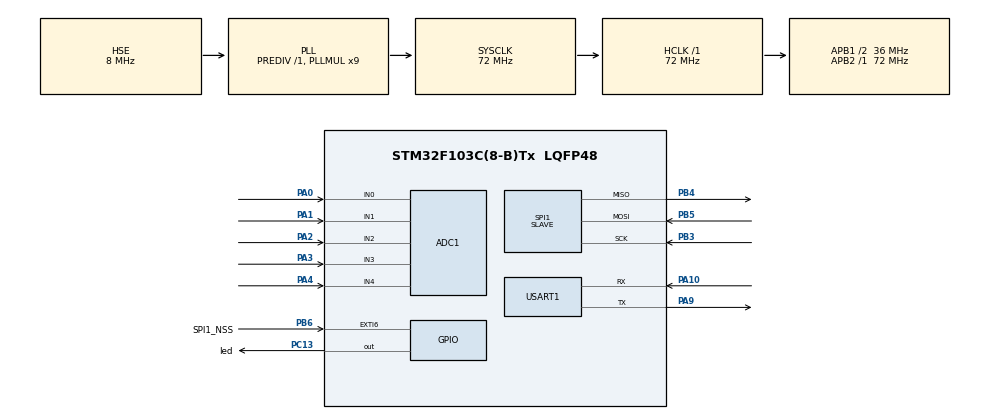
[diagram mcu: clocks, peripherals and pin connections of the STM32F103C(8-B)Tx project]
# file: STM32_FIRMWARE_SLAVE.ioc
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ADC1.Channel-0\#ChannelRegularConversion=ADC_CHANNEL_0
ADC1.Channel-1\#ChannelRegularConversion=ADC_CHANNEL_1
ADC1.Channel-2\#ChannelRegularConversion=ADC_CHANNEL_2
ADC1.Channel-3\#ChannelRegularConversion=ADC_CHANNEL_3
ADC1.Channel-4\#ChannelRegularConversion=ADC_CHANNEL_4
ADC1.DataAlign=ADC_DATAALIGN_RIGHT
ADC1.NbrOfConversion=5
ADC1.NbrOfConversionFlag=1
ADC1.Rank-0\#ChannelRegularConversion=1
ADC1.Rank-1\#ChannelRegularConversion=2
ADC1.Rank-2\#ChannelRegularConversion=3
ADC1.Rank-3\#ChannelRegularConversion=4
ADC1.Rank-4\#ChannelRegularConversion=5
ADC1.SamplingTime-0\#ChannelRegularConversion=ADC_SAMPLETIME_55CYCLES_5
ADC1.SamplingTime-1\#ChannelRegularConversion=ADC_SAMPLETIME_55CYCLES_5
ADC1.SamplingTime-2\#ChannelRegularConversion=ADC_SAMPLETIME_55CYCLES_5
ADC1.SamplingTime-3\#ChannelRegularConversion=ADC_SAMPLETIME_55CYCLES_5
ADC1.SamplingTime-4\#ChannelRegularConversion=ADC_SAMPLETIME_55CYCLES_5
ADC1.master=1
Dma.ADC1.0.Direction=DMA_PERIPH_TO_MEMORY
Dma.ADC1.0.Instance=DMA1_Channel1
Dma.ADC1.0.MemDataAlignment=DMA_MDATAALIGN_HALFWORD
Dma.ADC1.0.MemInc=DMA_MINC_ENABLE
Dma.ADC1.0.Mode=DMA_NORMAL
Dma.ADC1.0.PeriphDataAlignment=DMA_PDATAALIGN_HALFWORD
Dma.ADC1.0.PeriphInc=DMA_PINC_DISABLE
Dma.ADC1.0.Priority=DMA_PRIORITY_LOW
Dma.Request0=ADC1
Dma.Request1=USART1_RX
Dma.Request2=USART1_TX
Dma.Request3=SPI1_RX
Dma.Request4=SPI1_TX
Dma.SPI1_RX.3.Direction=DMA_PERIPH_TO_MEMORY
Dma.SPI1_RX.3.Instance=DMA1_Channel2
Dma.SPI1_RX.3.MemDataAlignment=DMA_MDATAALIGN_BYTE
Dma.SPI1_RX.3.MemInc=DMA_MINC_ENABLE
Dma.SPI1_RX.3.Mode=DMA_NORMAL
Dma.SPI1_RX.3.PeriphDataAlignment=DMA_PDATAALIGN_BYTE
Dma.SPI1_RX.3.PeriphInc=DMA_PINC_DISABLE
Dma.SPI1_RX.3.Priority=DMA_PRIORITY_HIGH
Dma.SPI1_TX.4.Direction=DMA_MEMORY_TO_PERIPH
Dma.SPI1_TX.4.Instance=DMA1_Channel3
Dma.SPI1_TX.4.MemDataAlignment=DMA_MDATAALIGN_BYTE
Dma.SPI1_TX.4.MemInc=DMA_MINC_ENABLE
Dma.SPI1_TX.4.Mode=DMA_NORMAL
Dma.SPI1_TX.4.PeriphDataAlignment=DMA_PDATAALIGN_BYTE
Dma.SPI1_TX.4.PeriphInc=DMA_PINC_DISABLE
Dma.SPI1_TX.4.Priority=DMA_PRIORITY_HIGH
Dma.USART1_RX.1.Direction=DMA_PERIPH_TO_MEMORY
Dma.USART1_RX.1.Instance=DMA1_Channel5
Dma.USART1_RX.1.MemDataAlignment=DMA_MDATAALIGN_BYTE
Dma.USART1_RX.1.MemInc=DMA_MINC_ENABLE
Dma.USART1_RX.1.Mode=DMA_NORMAL
Dma.USART1_RX.1.PeriphDataAlignment=DMA_PDATAALIGN_BYTE
Dma.USART1_RX.1.PeriphInc=DMA_PINC_DISABLE
Dma.USART1_RX.1.Priority=DMA_PRIORITY_LOW
Dma.USART1_TX.2.Direction=DMA_MEMORY_TO_PERIPH
Dma.USART1_TX.2.Instance=DMA1_Channel4
Dma.USART1_TX.2.MemDataAlignment=DMA_MDATAALIGN_BYTE
Dma.USART1_TX.2.MemInc=DMA_MINC_ENABLE
Dma.USART1_TX.2.Mode=DMA_NORMAL
Dma.USART1_TX.2.PeriphDataAlignment=DMA_PDATAALIGN_BYTE
Dma.USART1_TX.2.PeriphInc=DMA_PINC_DISABLE
Dma.USART1_TX.2.Priority=DMA_PRIORITY_LOW
Mcu.Family=STM32F1
Mcu.Name=STM32F103C(8-B)Tx
Mcu.Package=LQFP48
NVIC.ADC1_2_IRQn=true\:1\:0\:true\:false\:true\:true\:true\:true
NVIC.DMA1_Channel1_IRQn=true\:1\:0\:true\:false\:true\:false\:true\:true
NVIC.DMA1_Channel2_IRQn=true\:0\:0\:false\:false\:true\:false\:true\:true
NVIC.DMA1_Channel3_IRQn=true\:0\:0\:false\:false\:true\:false\:true\:true
NVIC.DMA1_Channel4_IRQn=true\:3\:0\:true\:false\:true\:false\:true\:true
NVIC.DMA1_Channel5_IRQn=true\:3\:0\:true\:false\:true\:false\:true\:true
NVIC.EXTI9_5_IRQn=true\:0\:0\:false\:false\:true\:true\:true\:true
NVIC.PriorityGroup=NVIC_PRIORITYGROUP_4
NVIC.SPI1_IRQn=true\:0\:0\:false\:false\:true\:true\:true\:true
NVIC.USART1_IRQn=true\:2\:0\:true\:false\:true\:true\:true\:true
PA0-WKUP.Signal=ADCx_IN0
PA1.Signal=ADCx_IN1
PA10.Mode=Asynchronous
PA10.Signal=USART1_RX
PA13.Mode=Serial_Wire
PA13.Signal=SYS_JTMS-SWDIO
PA14.Mode=Serial_Wire
PA14.Signal=SYS_JTCK-SWCLK
PA2.Signal=ADCx_IN2
PA3.Signal=ADCx_IN3
PA4.Signal=ADCx_IN4
PA9.Mode=Asynchronous
PA9.Signal=USART1_TX
PB3.Mode=Full_Duplex_Slave
PB3.Signal=SPI1_SCK
PB4.Mode=Full_Duplex_Slave
PB4.Signal=SPI1_MISO
PB5.Mode=Full_Duplex_Slave
PB5.Signal=SPI1_MOSI
PB6.GPIO_Label=SPI1_NSS
PB6.GPIO_ModeDefaultEXTI=GPIO_MODE_IT_RISING_FALLING
PB6.GPIO_PuPd=GPIO_PULLUP
PB6.Signal=GPXTI6
PC13-TAMPER-RTC.GPIO_Label=led
PC13-TAMPER-RTC.Signal=GPIO_Output
PD0-OSC_IN.Mode=HSE-External-Oscillator
PD0-OSC_IN.Signal=RCC_OSC_IN
PD1-OSC_OUT.Mode=HSE-External-Oscillator
PD1-OSC_OUT.Signal=RCC_OSC_OUT
ProjectManager.HeapSize=0x200
ProjectManager.StackSize=0x400
ProjectManager.TargetToolchain=CMake
RCC.ADCPresc=RCC_ADCPCLK2_DIV6
RCC.AHBFreq_Value=72000000
RCC.APB1CLKDivider=RCC_HCLK_DIV2
RCC.APB1Freq_Value=36000000
RCC.APB1TimFreq_Value=72000000
RCC.APB2Freq_Value=72000000
RCC.APB2TimFreq_Value=72000000
RCC.HCLKFreq_Value=72000000
RCC.PLLMUL=RCC_PLL_MUL9
RCC.PLLSourceVirtual=RCC_PLLSOURCE_HSE
RCC.SYSCLKFreq_VALUE=72000000
RCC.SYSCLKSource=RCC_SYSCLKSOURCE_PLLCLK
RCC.USBFreq_Value=72000000
SH.ADCx_IN0.0=ADC1_IN0,IN0
SH.ADCx_IN1.0=ADC1_IN1,IN1
SH.ADCx_IN2.0=ADC1_IN2,IN2
SH.ADCx_IN3.0=ADC1_IN3,IN3
SH.ADCx_IN4.0=ADC1_IN4,IN4
SPI1.Direction=SPI_DIRECTION_2LINES
SPI1.Mode=SPI_MODE_SLAVE
SPI1.VirtualType=VM_SLAVE
USART1.VirtualMode=VM_ASYNC
board=custom

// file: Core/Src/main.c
/* USER CODE BEGIN Header */
/**
  ******************************************************************************
  * @file           : main.c
  * @brief          : Main program body
  ******************************************************************************
  * @attention
  *
  * Copyright (c) 2026 STMicroelectronics.
  * All rights reserved.
  *
  * This software is licensed under terms that can be found in the LICENSE file
  * in the root directory of this software component.
  * If no LICENSE file comes with this software, it is provided AS-IS.
  *
  ******************************************************************************
  */
/* USER CODE END Header */
#include "main.h"
#include "adc.h"
#include "dma.h"
#include "spi.h"
#include "usart.h"
#include "gpio.h"

/* USER CODE BEGIN Includes */
#include <stdio.h>
#include <stdlib.h>
#include <string.h>
/* USER CODE END Includes */

/* USER CODE BEGIN PTD */
/**
 * @brief Wire frame sent to the SPI master (14 bytes, little-endian).
 *
 * No CRC on purpose: chip-select frames the transfer, and exactly one frame is
 * clocked per CS assertion, so its start and length are already unambiguous.
 * The SOF marker is kept purely as a sanity check.
 */
typedef struct __attribute__((packed))
{
  uint8_t  sof0;
  uint8_t  sof1;
  uint8_t  seq;
  uint8_t  status;
  uint16_t adc_raw[5];
} ItvSpiFrame_t;
/* USER CODE END PTD */

/* USER CODE BEGIN PD */
#define ITV_CH_COUNT          5U
#define ADC_REF_MV            3300U
#define ADC_MAX_COUNT         4095U
#define ADC_OFFSET_MV         200U
#define ADC_OFFSET_COUNTS     (((ADC_OFFSET_MV * ADC_MAX_COUNT) + (ADC_REF_MV / 2U)) / ADC_REF_MV)
#define ADC_FILTER_LEN        8U
#define ADC_SAMPLE_PERIOD_MS  10U
#define ADC_BUSY_TIMEOUT_MS   50U
#define DEFAULT_LOG_PERIOD_MS 50U
#define MIN_LOG_PERIOD_MS     20U
#define MAX_LOG_PERIOD_MS     10000U
#define UART_TX_BUF_SIZE      192U
#define UART_RX_BUF_SIZE      64U
#define SPI_FRAME_SIZE        ((uint16_t)sizeof(ItvSpiFrame_t))
#define SPI_FRAME_SOF0        0xAAU
#define SPI_FRAME_SOF1        0x55U
/* USER CODE END PD */

/* USER CODE BEGIN PV */
static volatile uint16_t adc_dma_buf[ITV_CH_COUNT];
static volatile uint16_t adc_latest[ITV_CH_COUNT];
static uint16_t          adc_ring[ITV_CH_COUNT][ADC_FILTER_LEN];
static uint32_t          adc_sum[ITV_CH_COUNT];
static uint8_t           adc_ring_idx = 0U;
static uint8_t           adc_ring_primed = 0U;
static volatile uint8_t  adc_busy = 0U;
static volatile uint8_t  adc_data_ready = 0U;
static volatile uint8_t  adc_valid = 0U;
static volatile uint8_t  adc_seq = 0U;
static volatile uint32_t adc_sample_count = 0U;
static volatile uint32_t adc_error_count = 0U;
static volatile uint8_t  adc_last_error = 0U;
static volatile uint32_t adc_last_ok_tick = 0U;
static uint8_t           adc_timeout_streak = 0U;

static uint8_t           spi_tx_buf[SPI_FRAME_SIZE];
static uint8_t           spi_rx_buf[SPI_FRAME_SIZE];
static uint8_t           spi_frame_shadow[2][SPI_FRAME_SIZE];
static volatile uint8_t  spi_frame_front = 0U;
static volatile uint8_t  spi_adc_dirty = 0U;
static volatile uint8_t  spi_cs_active = 0U;
static volatile uint8_t  spi_cs_restart_pending = 0U;
static volatile uint32_t spi_tx_count = 0U;
static volatile uint32_t spi_error_count = 0U;
static volatile uint32_t spi_resync_count = 0U;

static uint8_t           uart_tx_buf[UART_TX_BUF_SIZE];
static uint8_t           uart_rx_dma_buf[UART_RX_BUF_SIZE];
static char              uart_cmd_buf[UART_RX_BUF_SIZE];
static volatile uint16_t uart_cmd_len = 0U;
static volatile uint8_t  uart_cmd_ready = 0U;
static volatile uint8_t  uart_tx_busy = 0U;
static volatile uint32_t uart_tx_count = 0U;
static volatile uint32_t uart_rx_count = 0U;
static volatile uint32_t uart_error_count = 0U;

static uint8_t           stream_enabled = 1U;
static uint32_t          log_period_ms = DEFAULT_LOG_PERIOD_MS;
/* USER CODE END PV */

void SystemClock_Config(void);
/* USER CODE BEGIN PFP */
static void SPI1_PackFrame(uint8_t *buf);
static void SPI1_StartSlaveDMA(void);
static void SPI1_RecoverIdle(void);
static void UART1_StartRxDMA(void);
static uint8_t UART1_SendDMA(const char *msg, uint32_t wait_timeout_ms);
static void ITV_LogSample(const uint16_t raw[ITV_CH_COUNT], uint32_t timestamp_ms, uint8_t wait_tx);
static void ITV_ProcessCommand(void);
/* USER CODE END PFP */

/* USER CODE BEGIN 0 */
static void SPI1_PackFrame(uint8_t *buf)
{
  ItvSpiFrame_t frame;
  frame.sof0 = SPI_FRAME_SOF0;
  frame.sof1 = SPI_FRAME_SOF1;

  uint32_t primask = __get_PRIMASK();
  __disable_irq();
  frame.seq = adc_seq;
  frame.status = (adc_valid != 0U) ? 0x01U : 0x00U;
  if (adc_last_error != 0U)
  {
    frame.status |= 0x02U;
  }
  for (uint32_t i = 0U; i < ITV_CH_COUNT; i++)
  {
    frame.adc_raw[i] = adc_latest[i];
  }
  if (primask == 0U)
  {
    __enable_irq();
  }

  memcpy(buf, &frame, sizeof(frame));
}

/*
 * Arm SPI1 slave DMA from the latest double-buffered shadow frame.
 * Called from the CS falling-edge EXTI ISR (priority 0) while hspi1 is READY.
 */
static void SPI1_StartSlaveDMA(void)
{
  __HAL_SPI_CLEAR_OVRFLAG(&hspi1);
  memcpy(spi_tx_buf, spi_frame_shadow[spi_frame_front], SPI_FRAME_SIZE);
  spi_adc_dirty = 0U;

  if (HAL_SPI_TransmitReceive_DMA(&hspi1, spi_tx_buf, spi_rx_buf, SPI_FRAME_SIZE) != HAL_OK)
  {
    spi_error_count++;
    spi_cs_restart_pending = 1U;
  }
}

static void ADC1_Recover(void)
{
  (void)HAL_ADC_Stop_DMA(&hadc1);
  if (hadc1.DMA_Handle != NULL)
  {
    (void)HAL_DMA_Abort(hadc1.DMA_Handle);
    __HAL_UNLOCK(hadc1.DMA_Handle);
    hadc1.DMA_Handle->State = HAL_DMA_STATE_READY;
  }
  __HAL_UNLOCK(&hadc1);
  __HAL_ADC_CLEAR_FLAG(&hadc1, ADC_FLAG_EOC | ADC_FLAG_STRT | ADC_FLAG_JEOC | ADC_FLAG_JSTRT | ADC_FLAG_AWD);

  adc_timeout_streak++;
  if (adc_timeout_streak >= 2U)
  {
    __HAL_RCC_ADC1_FORCE_RESET();
    __NOP();
    __NOP();
    __NOP();
    __NOP();
    __HAL_RCC_ADC1_RELEASE_RESET();
    MX_ADC1_Init();
    (void)HAL_ADCEx_Calibration_Start(&hadc1);
    adc_timeout_streak = 0U;
  }

  adc_busy = 0U;
  adc_error_count++;
  adc_last_error = 1U;
}

/*
 * Recover SPI1 from an incomplete/aborted transfer once CS has returned HIGH.
 * Runs in thread context because HAL_SPI_Abort() polls HAL_GetTick().
 * Masks EXTI9_5_IRQn during reset/re-init so a fresh CS edge cannot race it.
 */
static void SPI1_RecoverIdle(void)
{
  HAL_NVIC_DisableIRQ(EXTI9_5_IRQn);
  if (HAL_GPIO_ReadPin(SPI1_NSS_GPIO_Port, SPI1_NSS_Pin) == GPIO_PIN_RESET)
  {
    spi_cs_active = 1U;
    HAL_NVIC_EnableIRQ(EXTI9_5_IRQn);
    return;
  }
  spi_cs_active = 0U;

  if (hspi1.State != HAL_SPI_STATE_READY)
  {
    (void)HAL_SPI_Abort(&hspi1);
    spi_resync_count++;
  }
  __HAL_RCC_SPI1_FORCE_RESET();
  __NOP();
  __NOP();
  __NOP();
  __NOP();
  __HAL_RCC_SPI1_RELEASE_RESET();
  if (HAL_SPI_Init(&hspi1) != HAL_OK)
  {
    spi_error_count++;
    HAL_NVIC_EnableIRQ(EXTI9_5_IRQn);
    return;
  }
  __HAL_SPI_CLEAR_OVRFLAG(&hspi1);
  __HAL_SPI_DISABLE(&hspi1);

  __HAL_GPIO_EXTI_CLEAR_IT(SPI1_NSS_Pin);
  if (HAL_GPIO_ReadPin(SPI1_NSS_GPIO_Port, SPI1_NSS_Pin) == GPIO_PIN_RESET)
  {
    spi_cs_active = 1U;
    SPI1_StartSlaveDMA();
  }
  HAL_NVIC_EnableIRQ(EXTI9_5_IRQn);
}

static uint32_t ITV_RawToMillivolts(uint16_t raw)
{
  return ((uint32_t)raw * ADC_REF_MV + (ADC_MAX_COUNT / 2U)) / ADC_MAX_COUNT;
}

static void UART1_StartRxDMA(void)
{
  if (HAL_UARTEx_ReceiveToIdle_DMA(&huart1, uart_rx_dma_buf, UART_RX_BUF_SIZE) == HAL_OK)
  {
    if (huart1.hdmarx != NULL)
    {
      __HAL_DMA_DISABLE_IT(huart1.hdmarx, DMA_IT_HT);
    }
  }
}

static uint8_t UART1_SendDMA(const char *msg, uint32_t wait_timeout_ms)
{
  size_t len = strlen(msg);
  if (len == 0U)
  {
    return 1U;
  }
  if (len >= UART_TX_BUF_SIZE)
  {
    len = UART_TX_BUF_SIZE - 1U;
  }

  uint32_t start = HAL_GetTick();
  while (uart_tx_busy != 0U)
  {
    if ((wait_timeout_ms == 0U) || ((HAL_GetTick() - start) >= wait_timeout_ms))
    {
      return 0U;
    }
  }

  memcpy(uart_tx_buf, msg, len);
  uart_tx_busy = 1U;
  if (HAL_UART_Transmit_DMA(&huart1, uart_tx_buf, (uint16_t)len) != HAL_OK)
  {
    uart_tx_busy = 0U;
    return 0U;
  }
  return 1U;
}

static void ITV_LogSample(const uint16_t raw[ITV_CH_COUNT], uint32_t timestamp_ms, uint8_t wait_tx)
{
  char line[UART_TX_BUF_SIZE];
  uint32_t mv[ITV_CH_COUNT];
  for (uint32_t i = 0U; i < ITV_CH_COUNT; i++)
  {
    mv[i] = ITV_RawToMillivolts(raw[i]);
  }

  (void)snprintf(
      line, sizeof(line),
      "[t=%lums] RAW:%u,%u,%u,%u,%u | mV:%lu,%lu,%lu,%lu,%lu\r\n",
      (unsigned long)timestamp_ms,
      (unsigned int)raw[0], (unsigned int)raw[1], (unsigned int)raw[2],
      (unsigned int)raw[3], (unsigned int)raw[4],
      (unsigned long)mv[0], (unsigned long)mv[1], (unsigned long)mv[2],
      (unsigned long)mv[3], (unsigned long)mv[4]);

  (void)UART1_SendDMA(line, wait_tx ? 50U : 0U);
}

static void ITV_ProcessCommand(void)
{
  char cmd[UART_RX_BUF_SIZE];
  uint16_t len = 0U;

  uint32_t primask = __get_PRIMASK();
  __disable_irq();
  if (uart_cmd_ready != 0U)
  {
    len = uart_cmd_len;
    if (len >= UART_RX_BUF_SIZE)
    {
      len = UART_RX_BUF_SIZE - 1U;
    }
    memcpy(cmd, uart_cmd_buf, len);
    cmd[len] = '\0';
    uart_cmd_ready = 0U;
  }
  if (primask == 0U)
  {
    __enable_irq();
  }

  if (len == 0U)
  {
    return;
  }

  while ((len > 0U) && ((cmd[len - 1U] == '\r') || (cmd[len - 1U] == '\n') ||
                        (cmd[len - 1U] == ' ') || (cmd[len - 1U] == '\t')))
  {
    cmd[--len] = '\0';
  }

  char *p = cmd;
  while ((*p == ' ') || (*p == '\t'))
  {
    p++;
  }
  if (*p == '\0')
  {
    return;
  }

  char reply[UART_TX_BUF_SIZE];
  if ((strcmp(p, "help") == 0) || (strcmp(p, "?") == 0))
  {
    (void)snprintf(reply, sizeof(reply),
                   "CMD: start | stop | read | rate <20..10000ms> | stat\r\n");
    (void)UART1_SendDMA(reply, 50U);
  }
  else if (strcmp(p, "start") == 0)
  {
    stream_enabled = 1U;
    (void)snprintf(reply, sizeof(reply), "OK: stream ON (%lu ms)\r\n",
                   (unsigned long)log_period_ms);
    (void)UART1_SendDMA(reply, 50U);
  }
  else if (strcmp(p, "stop") == 0)
  {
    stream_enabled = 0U;
    (void)UART1_SendDMA("OK: stream OFF\r\n", 50U);
  }
  else if (strcmp(p, "read") == 0)
  {
    uint16_t snapshot[ITV_CH_COUNT];
    primask = __get_PRIMASK();
    __disable_irq();
    for (uint32_t i = 0U; i < ITV_CH_COUNT; i++)
    {
      snapshot[i] = adc_latest[i];
    }
    if (primask == 0U)
    {
      __enable_irq();
    }
    ITV_LogSample(snapshot, HAL_GetTick(), 1U);
  }
  else if (strncmp(p, "rate ", 5) == 0)
  {
    long req = strtol(p + 5, NULL, 10);
    if ((req >= (long)MIN_LOG_PERIOD_MS) && (req <= (long)MAX_LOG_PERIOD_MS))
    {
      log_period_ms = (uint32_t)req;
      (void)snprintf(reply, sizeof(reply), "OK: rate=%lu ms\r\n",
                     (unsigned long)log_period_ms);
    }
    else
    {
      (void)snprintf(reply, sizeof(reply), "ERR: rate must be 20..10000 ms\r\n");
    }
    (void)UART1_SendDMA(reply, 50U);
  }
  else if (strcmp(p, "stat") == 0)
  {
    (void)snprintf(
        reply, sizeof(reply),
        "STAT: adc=%lu adc_err=%lu spi=%lu spi_err=%lu resync=%lu tx=%lu rx=%lu u_err=%lu\r\n",
        (unsigned long)adc_sample_count,
        (unsigned long)adc_error_count,
        (unsigned long)spi_tx_count,
        (unsigned long)spi_error_count,
        (unsigned long)spi_resync_count,
        (unsigned long)uart_tx_count,
        (unsigned long)uart_rx_count,
        (unsigned long)uart_error_count);
    (void)UART1_SendDMA(reply, 50U);
  }
  else
  {
    (void)snprintf(reply, sizeof(reply), "ERR: unknown cmd '%s' (try help)\r\n", p);
    (void)UART1_SendDMA(reply, 50U);
  }
}
/* USER CODE END 0 */

int main(void)
{

  /* MCU Configuration--------------------------------------------------------*/

  /* Reset of all peripherals, Initializes the Flash interface and the Systick. */
  HAL_Init();

  /* Configure the system clock */
  SystemClock_Config();

  /* Initialize all configured peripherals */
  MX_GPIO_Init();
  MX_DMA_Init();
  MX_ADC1_Init();
  MX_USART1_UART_Init();
  MX_SPI1_Init();
  /* USER CODE BEGIN 2 */
  if (HAL_ADCEx_Calibration_Start(&hadc1) != HAL_OK)
  {
    Error_Handler();
  }

  UART1_StartRxDMA();
  (void)UART1_SendDMA(
      "\r\nITV_SLAVE_READY: ADC1 5ch(PA0-PA4) | USART1 115200 | SPI1 Slave 14B DMA+EXTI\r\n",
      50U);

  SPI1_PackFrame(spi_frame_shadow[0]);
  spi_frame_front = 0U;
  /* Keep SPI1 disabled (SPE = 0) while CS is HIGH so SCK glitches cannot
   * shift bits between frames; EXTI falling edge arms DMA per transfer. */
  __HAL_SPI_DISABLE(&hspi1);

  uint32_t last_sample_tick = HAL_GetTick();
  uint32_t last_log_tick = HAL_GetTick();
  adc_last_ok_tick = last_sample_tick;

  adc_busy = 1U;
  if (HAL_ADC_Start_DMA(&hadc1, (uint32_t *)adc_dma_buf, ITV_CH_COUNT) != HAL_OK)
  {
    adc_busy = 0U;
  }

  /* Hardware IWDG (~500 ms @ 40 kHz LSI / 64): only kicked while ADC keeps completing */
  IWDG->KR = 0x5555U;
  IWDG->PR = 4U;    /* prescaler /64 (~625 Hz) */
  IWDG->RLR = 312U; /* ~500 ms */
  IWDG->KR = 0xAAAAU;
  IWDG->KR = 0xCCCCU;
  /* USER CODE END 2 */

  /* Infinite loop */
  /* USER CODE BEGIN WHILE */
  while (1)
  {
    uint32_t now = HAL_GetTick();

    if (uart_cmd_ready != 0U)
    {
      ITV_ProcessCommand();
    }

    if ((adc_busy != 0U) && ((uint32_t)(now - last_sample_tick) >= ADC_BUSY_TIMEOUT_MS))
    {
      ADC1_Recover();
    }

    if ((adc_busy == 0U) && ((uint32_t)(now - last_sample_tick) >= ADC_SAMPLE_PERIOD_MS))
    {
      if ((hadc1.DMA_Handle != NULL && hadc1.DMA_Handle->State != HAL_DMA_STATE_READY) ||
          (hadc1.ErrorCode != HAL_ADC_ERROR_NONE))
      {
        (void)HAL_ADC_Stop_DMA(&hadc1);
      }
      last_sample_tick = now;
      adc_busy = 1U;
      HAL_GPIO_TogglePin(led_GPIO_Port, led_Pin);
      if (HAL_ADC_Start_DMA(&hadc1, (uint32_t *)adc_dma_buf, ITV_CH_COUNT) != HAL_OK)
      {
        ADC1_Recover();
      }
    }

    /* Kick IWDG only as long as ADC conversions are actually completing */
    if ((uint32_t)(now - adc_last_ok_tick) < 350U)
    {
      IWDG->KR = 0xAAAAU;
    }

    if ((spi_cs_restart_pending != 0U) && (spi_cs_active == 0U))
    {
      spi_cs_restart_pending = 0U;
      SPI1_RecoverIdle();
    }

    if ((stream_enabled != 0U) && (adc_data_ready != 0U) &&
        ((now - last_log_tick) >= log_period_ms) && (uart_tx_busy == 0U))
    {
      uint16_t snapshot[ITV_CH_COUNT];
      uint32_t primask = __get_PRIMASK();
      __disable_irq();
      for (uint32_t i = 0U; i < ITV_CH_COUNT; i++)
      {
        snapshot[i] = adc_latest[i];
      }
      adc_data_ready = 0U;
      if (primask == 0U)
      {
        __enable_irq();
      }

      last_log_tick = now;
      ITV_LogSample(snapshot, now, 0U);
    }
    /* USER CODE END WHILE */

  }
}

void SystemClock_Config(void)
{
  RCC_OscInitTypeDef RCC_OscInitStruct = {0};
  RCC_ClkInitTypeDef RCC_ClkInitStruct = {0};
  RCC_PeriphCLKInitTypeDef PeriphClkInit = {0};

  /** Initializes the RCC Oscillators according to the specified parameters
  * in the RCC_OscInitTypeDef structure.
  */
  RCC_OscInitStruct.OscillatorType = RCC_OSCILLATORTYPE_HSE;
  RCC_OscInitStruct.HSEState = RCC_HSE_ON;
  RCC_OscInitStruct.HSEPredivValue = RCC_HSE_PREDIV_DIV1;
  RCC_OscInitStruct.HSIState = RCC_HSI_ON;
  RCC_OscInitStruct.PLL.PLLState = RCC_PLL_ON;
  RCC_OscInitStruct.PLL.PLLSource = RCC_PLLSOURCE_HSE;
  RCC_OscInitStruct.PLL.PLLMUL = RCC_PLL_MUL9;
  if (HAL_RCC_OscConfig(&RCC_OscInitStruct) != HAL_OK)
  {
    Error_Handler();
  }

  /** Initializes the CPU, AHB and APB buses clocks
  */
  RCC_ClkInitStruct.ClockType = RCC_CLOCKTYPE_HCLK|RCC_CLOCKTYPE_SYSCLK
                              |RCC_CLOCKTYPE_PCLK1|RCC_CLOCKTYPE_PCLK2;
  RCC_ClkInitStruct.SYSCLKSource = RCC_SYSCLKSOURCE_PLLCLK;
  RCC_ClkInitStruct.AHBCLKDivider = RCC_SYSCLK_DIV1;
  RCC_ClkInitStruct.APB1CLKDivider = RCC_HCLK_DIV2;
  RCC_ClkInitStruct.APB2CLKDivider = RCC_HCLK_DIV1;

  if (HAL_RCC_ClockConfig(&RCC_ClkInitStruct, FLASH_LATENCY_2) != HAL_OK)
  {
    Error_Handler();
  }
  PeriphClkInit.PeriphClockSelection = RCC_PERIPHCLK_ADC;
  PeriphClkInit.AdcClockSelection = RCC_ADCPCLK2_DIV6;
  if (HAL_RCCEx_PeriphCLKConfig(&PeriphClkInit) != HAL_OK)
  {
    Error_Handler();
  }
}

/* USER CODE BEGIN 4 */
void HAL_ADC_ConvCpltCallback(ADC_HandleTypeDef *hadc)
{
  if (hadc->Instance == ADC1)
  {
    if (adc_ring_primed == 0U)
    {
      for (uint32_t i = 0U; i < ITV_CH_COUNT; i++)
      {
        uint16_t raw = adc_dma_buf[i];
        uint16_t val = (raw > ADC_OFFSET_COUNTS) ? (uint16_t)(raw - ADC_OFFSET_COUNTS) : 0U;
        for (uint32_t k = 0U; k < ADC_FILTER_LEN; k++)
        {
          adc_ring[i][k] = val;
        }
        adc_sum[i] = (uint32_t)val * ADC_FILTER_LEN;
        adc_latest[i] = val;
      }
      adc_ring_primed = 1U;
      adc_ring_idx = 0U;
    }
    else
    {
      for (uint32_t i = 0U; i < ITV_CH_COUNT; i++)
      {
        uint16_t raw = adc_dma_buf[i];
        uint16_t val = (raw > ADC_OFFSET_COUNTS) ? (uint16_t)(raw - ADC_OFFSET_COUNTS) : 0U;
        adc_sum[i] -= adc_ring[i][adc_ring_idx];
        adc_ring[i][adc_ring_idx] = val;
        adc_sum[i] += val;
        adc_latest[i] = (uint16_t)((adc_sum[i] + (ADC_FILTER_LEN / 2U)) / ADC_FILTER_LEN);
      }
      adc_ring_idx = (uint8_t)((adc_ring_idx + 1U) % ADC_FILTER_LEN);
    }

    adc_seq++;
    adc_valid = 1U;
    adc_last_error = 0U;
    adc_sample_count++;
    adc_last_ok_tick = HAL_GetTick();
    adc_timeout_streak = 0U;
    adc_data_ready = 1U;

    uint8_t back = (uint8_t)(spi_frame_front ^ 1U);
    SPI1_PackFrame(spi_frame_shadow[back]);
    __DMB();
    spi_frame_front = back;
    spi_adc_dirty = 1U;
    adc_busy = 0U;
  }
}

void HAL_ADC_ErrorCallback(ADC_HandleTypeDef *hadc)
{
  if (hadc->Instance == ADC1)
  {
    adc_error_count++;
    adc_last_error = 1U;
    adc_busy = 0U;
  }
}

void HAL_SPI_TxRxCpltCallback(SPI_HandleTypeDef *hspi)
{
  if (hspi->Instance == SPI1)
  {
    spi_tx_count++;
    __HAL_SPI_DISABLE(hspi);
    spi_cs_restart_pending = 0U;
  }
}

void HAL_SPI_ErrorCallback(SPI_HandleTypeDef *hspi)
{
  if (hspi->Instance == SPI1)
  {
    spi_error_count++;
    __HAL_SPI_CLEAR_OVRFLAG(hspi);
    __HAL_SPI_DISABLE(hspi);
    spi_cs_restart_pending = 1U;
  }
}

void HAL_GPIO_EXTI_Callback(uint16_t GPIO_Pin)
{
  if (GPIO_Pin == SPI1_NSS_Pin)
  {
    if (HAL_GPIO_ReadPin(SPI1_NSS_GPIO_Port, SPI1_NSS_Pin) == GPIO_PIN_RESET)
    {
      spi_cs_active = 1U;
      if (hspi1.State == HAL_SPI_STATE_READY)
      {
        spi_cs_restart_pending = 0U;
        SPI1_StartSlaveDMA();
      }
      else
      {
        spi_error_count++;
        spi_cs_restart_pending = 1U;
      }
    }
    else
    {
      spi_cs_active = 0U;
      __HAL_SPI_DISABLE(&hspi1);
      if (hspi1.State != HAL_SPI_STATE_READY)
      {
        spi_cs_restart_pending = 1U;
      }
    }
  }
}

void HAL_UART_TxCpltCallback(UART_HandleTypeDef *huart)
{
  if (huart->Instance == USART1)
  {
    uart_tx_count++;
    uart_tx_busy = 0U;
  }
}

void HAL_UARTEx_RxEventCallback(UART_HandleTypeDef *huart, uint16_t Size)
{
  if (huart->Instance == USART1)
  {
    if ((Size > 0U) && (uart_cmd_ready == 0U))
    {
      uint16_t copy_len = (Size < UART_RX_BUF_SIZE) ? Size : (UART_RX_BUF_SIZE - 1U);
      memcpy(uart_cmd_buf, uart_rx_dma_buf, copy_len);
      uart_cmd_len = copy_len;
      uart_cmd_ready = 1U;
    }
    uart_rx_count++;
    UART1_StartRxDMA();
  }
}

void HAL_UART_ErrorCallback(UART_HandleTypeDef *huart)
{
  if (huart->Instance == USART1)
  {
    uart_error_count++;
    uart_tx_busy = 0U;
    UART1_StartRxDMA();
  }
}
/* USER CODE END 4 */

void Error_Handler(void)
{
  /* USER CODE BEGIN Error_Handler_Debug */
  __disable_irq();
  for (uint8_t i = 0U; i < 6U; i++)
  {
    HAL_GPIO_TogglePin(led_GPIO_Port, led_Pin);
    for (volatile uint32_t d = 0U; d < 250000U; d++)
    {
      __NOP();
    }
  }
  NVIC_SystemReset();
  /* USER CODE END Error_Handler_Debug */
}
